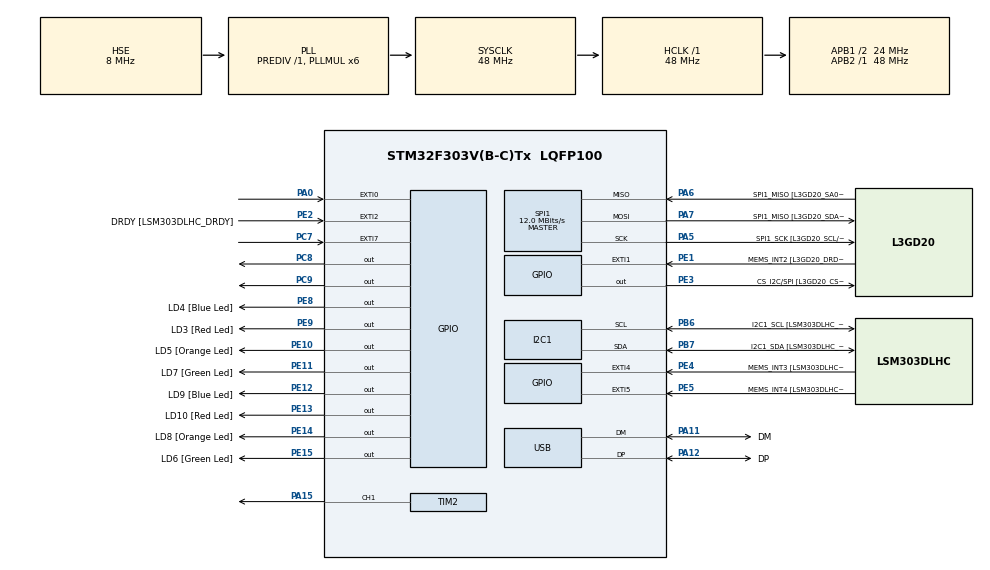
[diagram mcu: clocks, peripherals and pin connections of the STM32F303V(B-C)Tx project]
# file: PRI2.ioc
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I2C1.Timing=0x2000090E
I2C1.Timing-I2C=0x2000090E
Mcu.Family=STM32F3
Mcu.Name=STM32F303V(B-C)Tx
Mcu.Package=LQFP100
NVIC.EXTI0_IRQn=true\:3\:0\:true\:false\:true\:true\:true\:true
NVIC.EXTI9_5_IRQn=true\:2\:0\:true\:false\:true\:true\:true\:true
NVIC.PriorityGroup=NVIC_PRIORITYGROUP_2
NVIC.TIM4_IRQn=true\:1\:0\:true\:false\:true\:true\:true\:true
PA0.Signal=GPXTI0
PA11.GPIO_Label=DM
PA11.Mode=Device
PA11.Signal=USB_DM
PA12.GPIO_Label=DP
PA12.Mode=Device
PA12.Signal=USB_DP
PA13.GPIO_Label=SWDIO
PA13.Mode=Serial_Wire
PA13.Signal=SYS_JTMS-SWDIO
PA14.GPIO_Label=SWCLK
PA14.Mode=Serial_Wire
PA14.Signal=SYS_JTCK-SWCLK
PA15.Signal=S_TIM2_CH1_ETR
PA5.GPIO_Label=SPI1_SCK [L3GD20_SCL/SPC]
PA5.Mode=Full_Duplex_Master
PA5.Signal=SPI1_SCK
PA6.GPIO_Label=SPI1_MISO [L3GD20_SA0/SDO]
PA6.Mode=Full_Duplex_Master
PA6.Signal=SPI1_MISO
PA7.GPIO_Label=SPI1_MISO [L3GD20_SDA/SDI/SDO]
PA7.Mode=Full_Duplex_Master
PA7.Signal=SPI1_MOSI
PB3.GPIO_Label=SWO
PB3.Signal=SYS_JTDO-TRACESWO
PB6.GPIO_Label=I2C1_SCL [LSM303DLHC_SCL]
PB6.GPIO_Pu=GPIO_PULLUP
PB6.Mode=I2C
PB6.Signal=I2C1_SCL
PB7.GPIO_Label=I2C1_SDA [LSM303DLHC_SDA]
PB7.GPIO_Pu=GPIO_PULLUP
PB7.Mode=I2C
PB7.Signal=I2C1_SDA
PC14-OSC32_IN.GPIO_Label=OSC32_IN
PC14-OSC32_IN.Signal=RCC_OSC32_IN
PC15-OSC32_OUT.GPIO_Label=OSC32_OUT
PC15-OSC32_OUT.Signal=RCC_OSC32_OUT
PC7.GPIO_ModeDefaultEXTI=GPIO_MODE_IT_RISING
PC7.Signal=GPXTI7
PC8.Signal=GPIO_Output
PC9.Signal=GPIO_Output
PE1.GPIO_Label=MEMS_INT2 [L3GD20_DRDY/INT2]
PE1.GPIO_ModeDefaultEXTI=GPIO_MODE_EVT_RISING
PE1.Signal=GPXTI1
PE10.GPIO_Label=LD5 [Orange Led]
PE10.Signal=GPIO_Output
PE11.GPIO_Label=LD7 [Green Led]
PE11.Signal=GPIO_Output
PE12.GPIO_Label=LD9 [Blue Led]
PE12.Signal=GPIO_Output
PE13.GPIO_Label=LD10 [Red Led]
PE13.Signal=GPIO_Output
PE14.GPIO_Label=LD8 [Orange Led]
PE14.Signal=GPIO_Output
PE15.GPIO_Label=LD6 [Green Led]
PE15.Signal=GPIO_Output
PE2.GPIO_Label=DRDY [LSM303DLHC_DRDY]
PE2.GPIO_ModeDefaultEXTI=GPIO_MODE_EVT_RISING
PE2.Signal=GPXTI2
PE3.GPIO_Label=CS_I2C/SPI [L3GD20_CS_I2C/SPI]
PE3.Signal=GPIO_Output
PE4.GPIO_Label=MEMS_INT3 [LSM303DLHC_INT1]
PE4.GPIO_ModeDefaultEXTI=GPIO_MODE_EVT_RISING
PE4.Signal=GPXTI4
PE5.GPIO_Label=MEMS_INT4 [LSM303DLHC_INT2]
PE5.GPIO_ModeDefaultEXTI=GPIO_MODE_EVT_RISING
PE5.Signal=GPXTI5
PE8.GPIO_Label=LD4 [Blue Led]
PE8.Signal=GPIO_Output
PE9.GPIO_Label=LD3 [Red Led]
PE9.Signal=GPIO_Output
PF0-OSC_IN.GPIO_Label=OSC_IN
PF0-OSC_IN.Mode=HSE-External-Clock-Source
PF0-OSC_IN.Signal=RCC_OSC_IN
PF1-OSC_OUT.GPIO_Label=OSC_OUT
PF1-OSC_OUT.Signal=RCC_OSC_OUT
ProjectManager.HeapSize=0x200
ProjectManager.StackSize=0x400
ProjectManager.TargetToolchain=STM32CubeIDE
RCC.AHBFreq_Value=48000000
RCC.APB1CLKDivider=RCC_HCLK_DIV2
RCC.APB1Freq_Value=24000000
RCC.APB1TimFreq_Value=48000000
RCC.APB2Freq_Value=48000000
RCC.APB2TimFreq_Value=48000000
RCC.CortexFreq_Value=48000000
RCC.HCLKFreq_Value=48000000
RCC.HSE_VALUE=8000000
RCC.HSI_VALUE=8000000
RCC.LSE_VALUE=32768
RCC.PLLMUL=RCC_PLL_MUL6
RCC.SYSCLKFreq_VALUE=48000000
RCC.SYSCLKSourceVirtual=RCC_SYSCLKSOURCE_PLLCLK
RCC.USBFreq_Value=48000000
RTC.AsynchPrediv=39
RTC.SynchPrediv=999
SH.S_TIM2_CH1_ETR.0=TIM2_CH1,PWM Generation1 CH1
SPI1.BaudRatePrescaler=SPI_BAUDRATEPRESCALER_4
SPI1.BaudRatePrescaler-Full_Duplex_Master=SPI_BAUDRATEPRESCALER_2
SPI1.CalculateBaudRate=12.0 MBits/s
SPI1.CalculateBaudRate-Full_Duplex_Master=24.0 MBits/s
SPI1.Direction=SPI_DIRECTION_2LINES
SPI1.Mode=SPI_MODE_MASTER
SPI1.Mode-Full_Duplex_Master=SPI_MODE_MASTER
SPI1.VirtualType=VM_MASTER
TIM2.Channel-PWM\ Generation1\ CH1=TIM_CHANNEL_1
TIM4.Period=999
TIM4.Prescaler=143
VP_RTC_VS_RTC_Activate.Mode=RTC_Enabled
VP_RTC_VS_RTC_Calendar.Mode=RTC_Calendar
VP_TIM2_VS_ClockSourceINT.Mode=Internal
VP_TIM4_VS_ClockSourceINT.Mode=Internal
board=STM32F3DISCOVERY

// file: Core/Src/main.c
/* USER CODE BEGIN Header */
/**
  ******************************************************************************
  * @file           : main.c
  * @brief          : Main program body
  ******************************************************************************
  * @attention
  *
  * Copyright (c) 2022 STMicroelectronics.
  * All rights reserved.
  *
  * This software is licensed under terms that can be found in the LICENSE file
  * in the root directory of this software component.
  * If no LICENSE file comes with this software, it is provided AS-IS.
  *
  ******************************************************************************
  */
/* USER CODE END Header */
#include "main.h"

/* USER CODE BEGIN Includes */
#include "LiquidCrystal.h"
#include "buzzer_player.h"
#include "stdio.h"
#include <string.h>
/* USER CODE END Includes */

I2C_HandleTypeDef hi2c1;

RTC_HandleTypeDef hrtc;

SPI_HandleTypeDef hspi1;

TIM_HandleTypeDef htim2;
TIM_HandleTypeDef htim4;

PCD_HandleTypeDef hpcd_USB_FS;

/* USER CODE BEGIN PV */
Buzzer_Player player;
TIM_HandleTypeDef *buzzerPwmTimer = &htim2;
int buzzerPwmChannel = TIM_CHANNEL_1;
bool had_movment = false;
char date_string_1[10];
char time_string_1[10];
/* USER CODE END PV */

void SystemClock_Config(void);
static void MX_GPIO_Init(void);
static void MX_I2C1_Init(void);
static void MX_SPI1_Init(void);
static void MX_USB_PCD_Init(void);
static void MX_RTC_Init(void);
static void MX_TIM2_Init(void);
static void MX_TIM4_Init(void);

int main(void)
{

  /* MCU Configuration--------------------------------------------------------*/

  /* Reset of all peripherals, Initializes the Flash interface and the Systick. */
  HAL_Init();

  /* Configure the system clock */
  SystemClock_Config();

  /* Initialize all configured peripherals */
  MX_GPIO_Init();
  MX_I2C1_Init();
  MX_SPI1_Init();
  MX_USB_PCD_Init();
  MX_RTC_Init();
  MX_TIM2_Init();
  MX_TIM4_Init();
  /* USER CODE BEGIN 2 */
  HAL_TIM_Base_Start_IT(&htim4);
  HAL_TIM_PWM_Start(buzzerPwmTimer, buzzerPwmChannel);
  init_buzzer_player(&player, buzzerPwmTimer, buzzerPwmChannel);
  LiquidCrystal(GPIOD, GPIO_PIN_8, GPIO_PIN_9, GPIO_PIN_10, GPIO_PIN_11, GPIO_PIN_12, GPIO_PIN_13, GPIO_PIN_14);
//  begin(0, 0);
  clear();

  RTC_TimeTypeDef time;
  time.Hours = 12;
  time.Minutes = 0;
  time.Seconds = 0;

  HAL_RTC_SetTime(&hrtc, &time, RTC_FORMAT_BIN);

  RTC_DateTypeDef rtcDate;
  rtcDate.Year = 12;
  rtcDate.Month = 12;
  rtcDate.Date = 24;

  HAL_RTC_SetDate(&hrtc, &rtcDate, RTC_FORMAT_BIN);

  HAL_RTC_GetTime(&hrtc, &time, RTC_FORMAT_BIN);
  HAL_RTC_GetDate(&hrtc, &rtcDate, RTC_FORMAT_BIN);
  setCursor(0, 0);
  sprintf(date_string_1, "%d/%d/%d", rtcDate.Year, rtcDate.Month, rtcDate.Date);
  print(date_string_1);

  setCursor(0, 1);
  sprintf(time_string_1, "%d:%d:%d", time.Hours, time.Minutes, time.Seconds);
  if (time.Seconds < 10) {
	  strcat(time_string_1, "    ");
  }
  print(time_string_1);

//  HAL_GPIO_WritePin(GPIOC, GPIO_PIN_9, 1);
  HAL_GPIO_WritePin(GPIOC, GPIO_PIN_8, 1);
  /* USER CODE END 2 */

  /* Infinite loop */
  while (1)
  {

  }
}

void SystemClock_Config(void)
{
  RCC_OscInitTypeDef RCC_OscInitStruct = {0};
  RCC_ClkInitTypeDef RCC_ClkInitStruct = {0};
  RCC_PeriphCLKInitTypeDef PeriphClkInit = {0};

  /** Initializes the RCC Oscillators according to the specified parameters
  * in the RCC_OscInitTypeDef structure.
  */
  RCC_OscInitStruct.OscillatorType = RCC_OSCILLATORTYPE_HSI|RCC_OSCILLATORTYPE_LSI
                              |RCC_OSCILLATORTYPE_HSE;
  RCC_OscInitStruct.HSEState = RCC_HSE_BYPASS;
  RCC_OscInitStruct.HSEPredivValue = RCC_HSE_PREDIV_DIV1;
  RCC_OscInitStruct.HSIState = RCC_HSI_ON;
  RCC_OscInitStruct.HSICalibrationValue = RCC_HSICALIBRATION_DEFAULT;
  RCC_OscInitStruct.LSIState = RCC_LSI_ON;
  RCC_OscInitStruct.PLL.PLLState = RCC_PLL_ON;
  RCC_OscInitStruct.PLL.PLLSource = RCC_PLLSOURCE_HSE;
  RCC_OscInitStruct.PLL.PLLMUL = RCC_PLL_MUL6;
  if (HAL_RCC_OscConfig(&RCC_OscInitStruct) != HAL_OK)
  {
    Error_Handler();
  }

  /** Initializes the CPU, AHB and APB buses clocks
  */
  RCC_ClkInitStruct.ClockType = RCC_CLOCKTYPE_HCLK|RCC_CLOCKTYPE_SYSCLK
                              |RCC_CLOCKTYPE_PCLK1|RCC_CLOCKTYPE_PCLK2;
  RCC_ClkInitStruct.SYSCLKSource = RCC_SYSCLKSOURCE_PLLCLK;
  RCC_ClkInitStruct.AHBCLKDivider = RCC_SYSCLK_DIV1;
  RCC_ClkInitStruct.APB1CLKDivider = RCC_HCLK_DIV2;
  RCC_ClkInitStruct.APB2CLKDivider = RCC_HCLK_DIV1;

  if (HAL_RCC_ClockConfig(&RCC_ClkInitStruct, FLASH_LATENCY_1) != HAL_OK)
  {
    Error_Handler();
  }
  PeriphClkInit.PeriphClockSelection = RCC_PERIPHCLK_USB|RCC_PERIPHCLK_I2C1
                              |RCC_PERIPHCLK_RTC;
  PeriphClkInit.I2c1ClockSelection = RCC_I2C1CLKSOURCE_HSI;
  PeriphClkInit.RTCClockSelection = RCC_RTCCLKSOURCE_LSI;
  PeriphClkInit.USBClockSelection = RCC_USBCLKSOURCE_PLL;
  if (HAL_RCCEx_PeriphCLKConfig(&PeriphClkInit) != HAL_OK)
  {
    Error_Handler();
  }
}

static void MX_I2C1_Init(void)
{

  hi2c1.Instance = I2C1;
  hi2c1.Init.Timing = 0x2000090E;
  hi2c1.Init.OwnAddress1 = 0;
  hi2c1.Init.AddressingMode = I2C_ADDRESSINGMODE_7BIT;
  hi2c1.Init.DualAddressMode = I2C_DUALADDRESS_DISABLE;
  hi2c1.Init.OwnAddress2 = 0;
  hi2c1.Init.OwnAddress2Masks = I2C_OA2_NOMASK;
  hi2c1.Init.GeneralCallMode = I2C_GENERALCALL_DISABLE;
  hi2c1.Init.NoStretchMode = I2C_NOSTRETCH_DISABLE;
  if (HAL_I2C_Init(&hi2c1) != HAL_OK)
  {
    Error_Handler();
  }

  /** Configure Analogue filter
  */
  if (HAL_I2CEx_ConfigAnalogFilter(&hi2c1, I2C_ANALOGFILTER_ENABLE) != HAL_OK)
  {
    Error_Handler();
  }

  /** Configure Digital filter
  */
  if (HAL_I2CEx_ConfigDigitalFilter(&hi2c1, 0) != HAL_OK)
  {
    Error_Handler();
  }

}

static void MX_RTC_Init(void)
{

  RTC_TimeTypeDef sTime = {0};
  RTC_DateTypeDef sDate = {0};

  /** Initialize RTC Only
  */
  hrtc.Instance = RTC;
  hrtc.Init.HourFormat = RTC_HOURFORMAT_24;
  hrtc.Init.AsynchPrediv = 39;
  hrtc.Init.SynchPrediv = 999;
  hrtc.Init.OutPut = RTC_OUTPUT_DISABLE;
  hrtc.Init.OutPutPolarity = RTC_OUTPUT_POLARITY_HIGH;
  hrtc.Init.OutPutType = RTC_OUTPUT_TYPE_OPENDRAIN;
  if (HAL_RTC_Init(&hrtc) != HAL_OK)
  {
    Error_Handler();
  }

  /** Initialize RTC and set the Time and Date
  */
  sTime.Hours = 0x0;
  sTime.Minutes = 0x0;
  sTime.Seconds = 0x0;
  sTime.DayLightSaving = RTC_DAYLIGHTSAVING_NONE;
  sTime.StoreOperation = RTC_STOREOPERATION_RESET;
  if (HAL_RTC_SetTime(&hrtc, &sTime, RTC_FORMAT_BCD) != HAL_OK)
  {
    Error_Handler();
  }
  sDate.WeekDay = RTC_WEEKDAY_MONDAY;
  sDate.Month = RTC_MONTH_JANUARY;
  sDate.Date = 0x1;
  sDate.Year = 0x0;

  if (HAL_RTC_SetDate(&hrtc, &sDate, RTC_FORMAT_BCD) != HAL_OK)
  {
    Error_Handler();
  }

}

static void MX_SPI1_Init(void)
{

  /* SPI1 parameter configuration*/
  hspi1.Instance = SPI1;
  hspi1.Init.Mode = SPI_MODE_MASTER;
  hspi1.Init.Direction = SPI_DIRECTION_2LINES;
  hspi1.Init.DataSize = SPI_DATASIZE_4BIT;
  hspi1.Init.CLKPolarity = SPI_POLARITY_LOW;
  hspi1.Init.CLKPhase = SPI_PHASE_1EDGE;
  hspi1.Init.NSS = SPI_NSS_SOFT;
  hspi1.Init.BaudRatePrescaler = SPI_BAUDRATEPRESCALER_4;
  hspi1.Init.FirstBit = SPI_FIRSTBIT_MSB;
  hspi1.Init.TIMode = SPI_TIMODE_DISABLE;
  hspi1.Init.CRCCalculation = SPI_CRCCALCULATION_DISABLE;
  hspi1.Init.CRCPolynomial = 7;
  hspi1.Init.CRCLength = SPI_CRC_LENGTH_DATASIZE;
  hspi1.Init.NSSPMode = SPI_NSS_PULSE_ENABLE;
  if (HAL_SPI_Init(&hspi1) != HAL_OK)
  {
    Error_Handler();
  }

}

static void MX_TIM2_Init(void)
{

  TIM_ClockConfigTypeDef sClockSourceConfig = {0};
  TIM_MasterConfigTypeDef sMasterConfig = {0};
  TIM_OC_InitTypeDef sConfigOC = {0};

  htim2.Instance = TIM2;
  htim2.Init.Prescaler = 0;
  htim2.Init.CounterMode = TIM_COUNTERMODE_UP;
  htim2.Init.Period = 4294967295;
  htim2.Init.ClockDivision = TIM_CLOCKDIVISION_DIV1;
  htim2.Init.AutoReloadPreload = TIM_AUTORELOAD_PRELOAD_DISABLE;
  if (HAL_TIM_Base_Init(&htim2) != HAL_OK)
  {
    Error_Handler();
  }
  sClockSourceConfig.ClockSource = TIM_CLOCKSOURCE_INTERNAL;
  if (HAL_TIM_ConfigClockSource(&htim2, &sClockSourceConfig) != HAL_OK)
  {
    Error_Handler();
  }
  if (HAL_TIM_PWM_Init(&htim2) != HAL_OK)
  {
    Error_Handler();
  }
  sMasterConfig.MasterOutputTrigger = TIM_TRGO_RESET;
  sMasterConfig.MasterSlaveMode = TIM_MASTERSLAVEMODE_DISABLE;
  if (HAL_TIMEx_MasterConfigSynchronization(&htim2, &sMasterConfig) != HAL_OK)
  {
    Error_Handler();
  }
  sConfigOC.OCMode = TIM_OCMODE_PWM1;
  sConfigOC.Pulse = 0;
  sConfigOC.OCPolarity = TIM_OCPOLARITY_HIGH;
  sConfigOC.OCFastMode = TIM_OCFAST_DISABLE;
  if (HAL_TIM_PWM_ConfigChannel(&htim2, &sConfigOC, TIM_CHANNEL_1) != HAL_OK)
  {
    Error_Handler();
  }
  HAL_TIM_MspPostInit(&htim2);

}

static void MX_TIM4_Init(void)
{

  TIM_ClockConfigTypeDef sClockSourceConfig = {0};
  TIM_MasterConfigTypeDef sMasterConfig = {0};

  htim4.Instance = TIM4;
  htim4.Init.Prescaler = 143;
  htim4.Init.CounterMode = TIM_COUNTERMODE_UP;
  htim4.Init.Period = 999;
  htim4.Init.ClockDivision = TIM_CLOCKDIVISION_DIV1;
  htim4.Init.AutoReloadPreload = TIM_AUTORELOAD_PRELOAD_DISABLE;
  if (HAL_TIM_Base_Init(&htim4) != HAL_OK)
  {
    Error_Handler();
  }
  sClockSourceConfig.ClockSource = TIM_CLOCKSOURCE_INTERNAL;
  if (HAL_TIM_ConfigClockSource(&htim4, &sClockSourceConfig) != HAL_OK)
  {
    Error_Handler();
  }
  sMasterConfig.MasterOutputTrigger = TIM_TRGO_RESET;
  sMasterConfig.MasterSlaveMode = TIM_MASTERSLAVEMODE_DISABLE;
  if (HAL_TIMEx_MasterConfigSynchronization(&htim4, &sMasterConfig) != HAL_OK)
  {
    Error_Handler();
  }

}

static void MX_USB_PCD_Init(void)
{

  hpcd_USB_FS.Instance = USB;
  hpcd_USB_FS.Init.dev_endpoints = 8;
  hpcd_USB_FS.Init.speed = PCD_SPEED_FULL;
  hpcd_USB_FS.Init.phy_itface = PCD_PHY_EMBEDDED;
  hpcd_USB_FS.Init.low_power_enable = DISABLE;
  hpcd_USB_FS.Init.battery_charging_enable = DISABLE;
  if (HAL_PCD_Init(&hpcd_USB_FS) != HAL_OK)
  {
    Error_Handler();
  }

}

static void MX_GPIO_Init(void)
{
  GPIO_InitTypeDef GPIO_InitStruct = {0};

  /* GPIO Ports Clock Enable */
  __HAL_RCC_GPIOE_CLK_ENABLE();
  __HAL_RCC_GPIOC_CLK_ENABLE();
  __HAL_RCC_GPIOF_CLK_ENABLE();
  __HAL_RCC_GPIOA_CLK_ENABLE();
  __HAL_RCC_GPIOB_CLK_ENABLE();

  /*Configure GPIO pin Output Level */
  HAL_GPIO_WritePin(GPIOE, CS_I2C_SPI_Pin|LD4_Pin|LD3_Pin|LD5_Pin
                          |LD7_Pin|LD9_Pin|LD10_Pin|LD8_Pin
                          |LD6_Pin, GPIO_PIN_RESET);

  /*Configure GPIO pin Output Level */
  HAL_GPIO_WritePin(GPIOC, GPIO_PIN_8|GPIO_PIN_9, GPIO_PIN_RESET);

  /*Configure GPIO pins : DRDY_Pin MEMS_INT3_Pin MEMS_INT4_Pin MEMS_INT2_Pin */
  GPIO_InitStruct.Pin = DRDY_Pin|MEMS_INT3_Pin|MEMS_INT4_Pin|MEMS_INT2_Pin;
  GPIO_InitStruct.Mode = GPIO_MODE_EVT_RISING;
  GPIO_InitStruct.Pull = GPIO_NOPULL;
  HAL_GPIO_Init(GPIOE, &GPIO_InitStruct);

  /*Configure GPIO pins : CS_I2C_SPI_Pin LD4_Pin LD3_Pin LD5_Pin
                           LD7_Pin LD9_Pin LD10_Pin LD8_Pin
                           LD6_Pin */
  GPIO_InitStruct.Pin = CS_I2C_SPI_Pin|LD4_Pin|LD3_Pin|LD5_Pin
                          |LD7_Pin|LD9_Pin|LD10_Pin|LD8_Pin
                          |LD6_Pin;
  GPIO_InitStruct.Mode = GPIO_MODE_OUTPUT_PP;
  GPIO_InitStruct.Pull = GPIO_NOPULL;
  GPIO_InitStruct.Speed = GPIO_SPEED_FREQ_LOW;
  HAL_GPIO_Init(GPIOE, &GPIO_InitStruct);

  /*Configure GPIO pin : PA0 */
  GPIO_InitStruct.Pin = GPIO_PIN_0;
  GPIO_InitStruct.Mode = GPIO_MODE_IT_RISING;
  GPIO_InitStruct.Pull = GPIO_NOPULL;
  HAL_GPIO_Init(GPIOA, &GPIO_InitStruct);

  /*Configure GPIO pin : PC7 */
  GPIO_InitStruct.Pin = GPIO_PIN_7;
  GPIO_InitStruct.Mode = GPIO_MODE_IT_RISING;
  GPIO_InitStruct.Pull = GPIO_NOPULL;
  HAL_GPIO_Init(GPIOC, &GPIO_InitStruct);

  /*Configure GPIO pins : PC8 PC9 */
  GPIO_InitStruct.Pin = GPIO_PIN_8|GPIO_PIN_9;
  GPIO_InitStruct.Mode = GPIO_MODE_OUTPUT_PP;
  GPIO_InitStruct.Pull = GPIO_NOPULL;
  GPIO_InitStruct.Speed = GPIO_SPEED_FREQ_LOW;
  HAL_GPIO_Init(GPIOC, &GPIO_InitStruct);

  /* EXTI interrupt init*/
  HAL_NVIC_SetPriority(EXTI0_IRQn, 3, 0);
  HAL_NVIC_EnableIRQ(EXTI0_IRQn);

  HAL_NVIC_SetPriority(EXTI9_5_IRQn, 2, 0);
  HAL_NVIC_EnableIRQ(EXTI9_5_IRQn);

}

void Error_Handler(void)
{
  __disable_irq();
  while (1)
  {
  }
}
